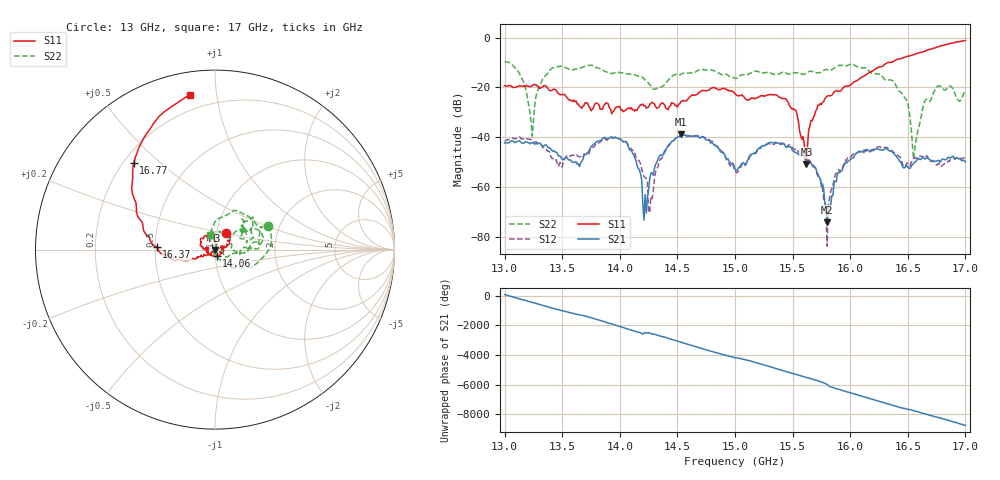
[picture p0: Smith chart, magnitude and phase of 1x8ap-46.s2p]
!Keysight Technologies,P9374A,MY57211807,A.19.30.04
!Date: Friday, May 08, 2026 15:46:00
!Correction: S11(C  2-Port  )
!S21(C  2-Port  )
!S12(C  2-Port  )
!S22(C  2-Port  )
!S2P File: Measurements: S11, S21, S12, S22:
# Hz S  dB  R 50
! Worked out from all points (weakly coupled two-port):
!   401 points, 13 GHz to 17 GHz, reference 50 ohm
!   highest |S21| = -38.95 dB at 14.53 GHz (marker M1); lowest = -74.2 dB at 15.8 GHz (marker M2)
!   lowest |S11| = -51.0 dB at 15.62 GHz (marker M3), VSWR 1.01, Z = 49.8 - j0.237 ohm
!   |S11| at or under -10 dB: start of sweep to 16.35 GHz
!   |S22| runs from -48.9 to -9.7 dB; largest |S21 - S12| = 0.0023
!   S11 on the Smith chart (normalised r, x): 13 GHz: 1.10, +0.20; 14.06 GHz: 1.01, -0.07; 16.37 GHz: 0.51, +0.02; 16.77 GHz: 0.24, +0.41; 17 GHz: 0.12, +0.84
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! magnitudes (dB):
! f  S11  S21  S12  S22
! 13 GHz  -19.3  -42.3  -41.6  -9.7
! 13.15 GHz  -19.5  -42.5  -40.8  -16.4
! 13.24 GHz  -19.4  -42.3  -41.5  -39.6
! 13.4 GHz  -21.3  -44.7  -47.7  -12.8
! 13.67 GHz  -28.4  -49.7  -48.4  -12.0
! 14.06 GHz  -28.7  -42.3  -42.0  -14.5
! 14.22 GHz  -27.4  -63.1  -56.2  -17.1
! 14.27 GHz  -26.4  -54.5  -63.9  -19.5
! 14.34 GHz  -28.0  -48.0  -50.2  -20.1
! 14.53 GHz  -25.7  -39.0  -39.1  -14.9
! 15 GHz  -22.5  -53.0  -52.5  -16.3
! 15.44 GHz  -24.6  -43.9  -43.7  -14.2
! 15.62 GHz  -51.0  -49.9  -49.4  -14.3
! 15.67 GHz  -33.5  -51.4  -50.9  -13.7
! 15.8 GHz  -23.6  -74.2  -83.8  -12.9
! 15.98 GHz  -19.4  -49.8  -48.0  -11.2
! 16.34 GHz  -10.0  -45.5  -44.9  -17.0
! 16.37 GHz  -9.7  -46.4  -45.8  -17.4
! 16.49 GHz  -7.6  -51.3  -50.6  -25.3
! 16.56 GHz  -6.7  -50.0  -48.1  -45.2
! 16.77 GHz  -3.6  -49.3  -50.5  -19.4
! 17 GHz  -1.2  -50.0  -48.8  -21.1
